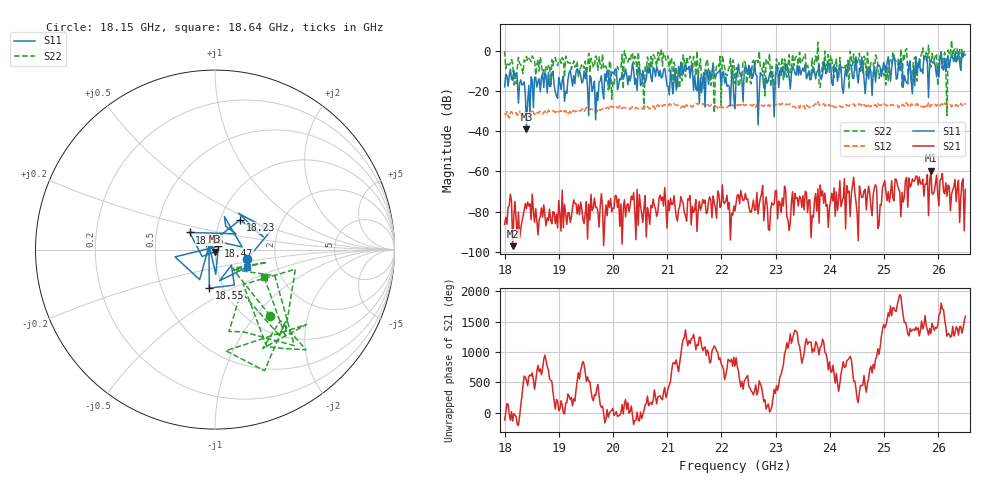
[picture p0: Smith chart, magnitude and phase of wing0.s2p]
!Keysight Technologies,N5242B,MY47200105,A.14.00.23
!Date: Friday, May 10, 2024 10:59:09
!Correction: S11(C  2-Port  )
!S21(C  2-Port  )
!S12(C  2-Port  )
!S22(C  2-Port  )
!S2P File: Measurement: :
# Hz S  RI  R 50
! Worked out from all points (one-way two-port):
!   401 points, 18 GHz to 26.5 GHz, reference 50 ohm
!   highest |S21| = -59.58 dB at 25.86 GHz (marker M1); lowest = -97.2 dB at 18.15 GHz (marker M2)
!   lowest |S11| = -39.0 dB at 18.4 GHz (marker M3), VSWR 1.02, Z = 50 - j1.13 ohm
!   |S11| at or under -10 dB: 18.17 GHz to 19.2 GHz (1.031 GHz wide, 5.52 % of centre); 19.38 GHz to 19.89 GHz (507.4 MHz wide, 2.58 % of centre); 22.63 GHz to 22.91 GHz (281.3 MHz wide, 1.24 % of centre) (the widest 3 of 74)
!   |S22| runs from -32.2 to 5.2 dB; largest |S21 - S12| = 0.054
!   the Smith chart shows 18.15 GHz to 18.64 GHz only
!   S11 on the Smith chart (normalised r, x): 18.15 GHz: 1.42, -0.16; 18.23 GHz: 1.24, +0.43; 18.36 GHz: 0.74, +0.15; 18.47 GHz: 1.04, +0.04; 18.55 GHz: 0.86, -0.39; 18.64 GHz: 1.40, -0.28
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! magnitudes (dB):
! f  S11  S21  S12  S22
! 18 GHz  -17.9  -86.4  -31.1  0.0
! 18.15 GHz  -14.6  -97.2  -31.3  -6.4
! 18.23 GHz  -13.3  -92.3  -32.1  -8.8
! 18.36 GHz  -15.4  -79.3  -30.5  -4.5
! 18.4 GHz  -39.0  -78.5  -30.2  -2.7
! 18.47 GHz  -31.6  -76.1  -31.2  -4.3
! 18.55 GHz  -13.3  -85.3  -31.7  -4.3
! 18.64 GHz  -13.8  -84.0  -30.3  -10.0
! 19.42 GHz  -16.0  -78.5  -28.9  -6.4
! 19.68 GHz  -34.3  -77.8  -29.8  -2.5
! 20.02 GHz  -11.6  -78.3  -27.7  -16.4
! 20.38 GHz  -9.6  -70.5  -28.7  -6.6
! 20.55 GHz  -9.7  -85.4  -29.0  -13.7
! 20.85 GHz  -12.6  -73.5  -27.5  -4.7
! 21.23 GHz  -12.6  -77.5  -27.6  -18.5
! 21.4 GHz  -7.7  -74.2  -27.2  -4.5
! 21.85 GHz  -5.9  -72.2  -27.2  -8.8
! 22.25 GHz  -28.8  -79.7  -26.9  -16.3
! 23.67 GHz  -10.5  -82.0  -27.2  -3.8
! 25.1 GHz  -8.4  -75.3  -26.5  -5.7
! 25.86 GHz  -4.6  -59.6  -26.7  -8.1
! 26.5 GHz  -1.8  -69.0  -26.7  0.8
